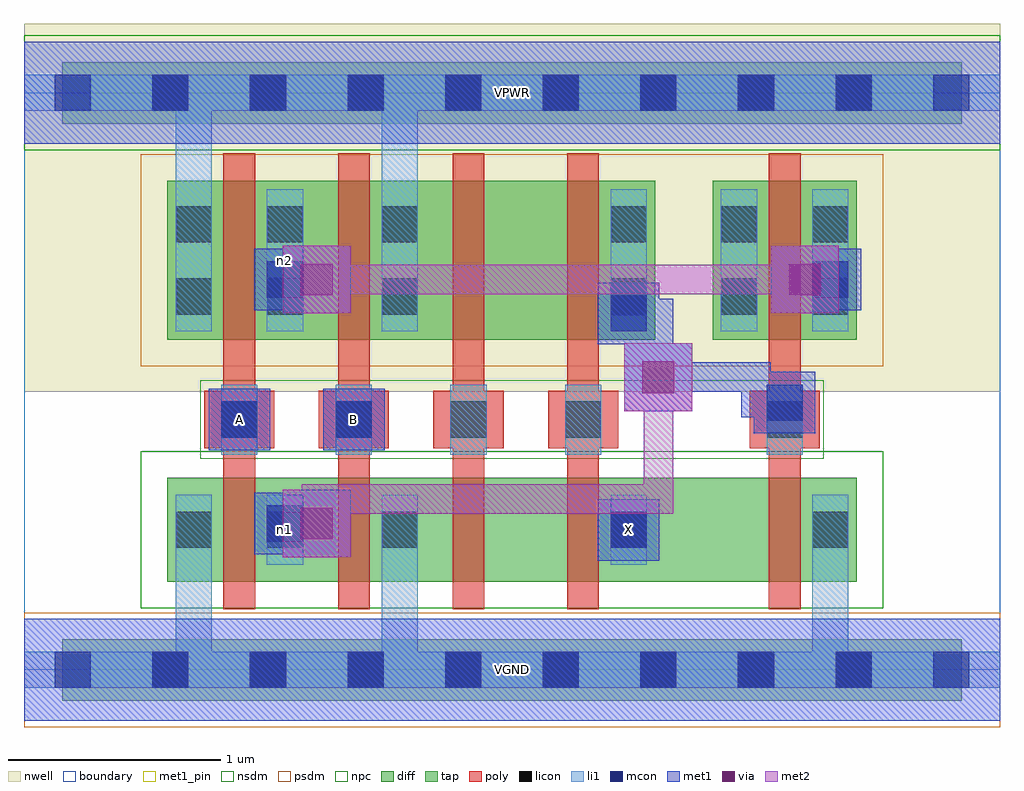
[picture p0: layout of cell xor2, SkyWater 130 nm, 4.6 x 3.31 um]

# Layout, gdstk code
import gdstk
lib = gdstk.Library(unit=1e-6, precision=1e-09)
def R(c, l, rs):  # rectangles x0, y0, x1, y1
    for r in rs: c.add(gdstk.rectangle(r[:2], r[2:], *l))
def A(c, l, x, y, w, h, nx, ny, dx, dy):  # array of equal rectangles
    R(c, l, [(x+i*dx, y+j*dy, x+i*dx+w, y+j*dy+h) for i in range(nx) for j in range(ny)])
nwell = (64, 20)
diff = (65, 20)
tap = (65, 44)
poly = (66, 20)
licon = (66, 44)
li1 = (67, 20)
mcon = (67, 44)
met1_pin = (68, 16)
met1 = (68, 20)
via = (68, 44)
met2 = (69, 20)
nsdm = (93, 44)
psdm = (94, 20)
npc = (95, 20)
boundary = (235, 4)

xor2 = lib.new_cell('xor2')
R(xor2, nwell, [(0,1.31,4.6,3.045)])
R(xor2, diff, [(0.675,0.415,3.925,0.905), (0.675,1.555,2.975,2.305), (3.245,1.555,3.925,2.305)])
R(xor2, tap, [(0.18,-0.145,4.42,0.145), (0.18,2.575,4.42,2.865)])
A(xor2, poly, 0.94, 0.285, 0.15, 2.15, 4, 1, 0.54, 0)
A(xor2, poly, 0.85, 1.045, 0.33, 0.27, 4, 1, 0.54, 0)
R(xor2, poly, [(3.51,0.285,3.66,2.435), (3.42,1.045,3.75,1.315)])
A(xor2, licon, 0.605, -0.085, 0.17, 0.17, 8, 2, 0.46, 2.72)
A(xor2, licon, 0.93, 1.095, 0.17, 0.17, 4, 1, 0.54, 0)
R(xor2, licon, [(0.715,0.575,0.885,0.745), (1.145,0.575,1.315,0.745), (1.685,0.575,1.855,0.745), (2.765,0.575,2.935,0.745), (3.715,0.575,3.885,0.745), (3.5,1.095,3.67,1.265), (0.715,1.675,0.885,1.845), (1.145,1.675,1.315,1.845), (1.685,1.675,1.855,1.845), (2.765,1.675,2.935,1.845), (3.285,1.675,3.455,1.845), (3.715,1.675,3.885,1.845), (0.715,2.015,0.885,2.185), (1.145,2.015,1.315,2.185), (1.685,2.015,1.855,2.185), (2.765,2.015,2.935,2.185), (3.285,2.015,3.455,2.185), (3.715,2.015,3.885,2.185)])
A(xor2, li1, 0.93, 1.015, 0.17, 0.33, 4, 1, 0.54, 0)
R(xor2, li1, [(0,-0.085,4.6,0.085), (0.715,-0.085,0.885,0.825), (1.685,-0.085,1.855,0.825), (3.715,-0.085,3.885,0.825), (0.715,0.495,0.885,0.825), (1.145,0.495,1.315,0.825), (1.685,0.495,1.855,0.825), (2.765,0.495,2.935,0.825), (3.715,0.495,3.885,0.825), (3.5,1.015,3.67,1.345), (0.715,1.595,0.885,2.265), (0.715,1.595,0.885,2.805), (1.145,1.595,1.315,2.265), (1.685,1.595,1.855,2.265), (1.685,1.595,1.855,2.805), (2.765,1.595,2.935,2.265), (3.285,1.595,3.455,2.265), (3.715,1.595,3.885,2.265), (0,2.635,4.6,2.805)])
A(xor2, mcon, 0.145, -0.085, 0.17, 0.17, 10, 2, 0.46, 2.72)
R(xor2, mcon, [(2.765,0.575,2.935,0.745), (1.145,0.605,1.315,0.775), (0.93,1.095,1.1,1.265), (1.47,1.095,1.64,1.265), (3.5,1.175,3.67,1.345), (2.765,1.595,2.935,1.765), (1.145,1.755,1.315,1.925), (3.715,1.755,3.885,1.925)])
R(xor2, met1_pin, [(0,-0.24,4.6,0.24), (2.705,0.515,2.995,0.805), (0.87,1.035,1.16,1.325), (1.41,1.035,1.7,1.325), (0,2.48,4.6,2.96)])
R(xor2, met1, [(0,-0.24,4.6,0.24), (2.705,0.515,2.995,0.805), (1.22,0.53,1.54,0.85), (1.085,0.545,1.375,0.835), (1.16,0.62,1.45,0.76), (0.87,1.035,1.16,1.325), (1.41,1.035,1.7,1.325), (3.44,1.115,3.73,1.405), (3.38,1.19,3.655,1.33), (3.38,1.19,3.52,1.45), (2.83,1.22,3.15,1.54), (2.92,1.31,3.52,1.45), (2.92,1.31,3.06,1.565), (2.92,1.425,3.06,1.75), (2.705,1.535,2.995,1.825), (2.83,1.54,3.06,1.61), (2.78,1.61,3.06,1.75), (1.22,1.68,1.54,2), (3.52,1.68,3.84,2), (1.085,1.695,1.375,1.985), (3.655,1.695,3.945,1.985), (1.16,1.77,1.45,1.91), (3.61,1.77,3.87,1.91), (0,2.48,4.6,2.96)])
R(xor2, via, [(1.305,0.615,1.455,0.765), (2.915,1.305,3.065,1.455), (1.305,1.765,1.455,1.915), (3.605,1.765,3.755,1.915)])
R(xor2, met2, [(1.22,0.53,1.54,0.85), (1.31,0.62,1.45,0.875), (1.31,0.735,3.06,0.875), (2.92,0.735,3.06,1.45), (2.83,1.22,3.15,1.54), (1.22,1.68,1.54,2), (3.52,1.68,3.84,2), (1.31,1.77,3.75,1.91)])
R(xor2, nsdm, [(0.55,0.29,4.05,1.03), (0,2.45,4.6,2.99)])
R(xor2, psdm, [(0,-0.27,4.6,0.27), (0.55,1.43,4.05,2.43)])
R(xor2, npc, [(0.83,0.995,3.77,1.365)])
R(xor2, boundary, [(0,0,4.6,2.72)])
xor2.add(gdstk.Label('n1', (1.23,0.66), layer=67, texttype=5))
xor2.add(gdstk.Label('n2', (1.23,1.93), layer=67, texttype=5))
xor2.add(gdstk.Label('A', (1.015,1.18), layer=68, texttype=5))
xor2.add(gdstk.Label('B', (1.555,1.18), layer=68, texttype=5))
xor2.add(gdstk.Label('X', (2.85,0.66), layer=68, texttype=5))
xor2.add(gdstk.Label('VPWR', (2.3,2.72), layer=68, texttype=5))
xor2.add(gdstk.Label('VGND', (2.3,0), layer=68, texttype=5))
xor2.add(gdstk.Label('A', (1.015,1.18), layer=68, texttype=16))
xor2.add(gdstk.Label('B', (1.555,1.18), layer=68, texttype=16))
xor2.add(gdstk.Label('X', (2.85,0.66), layer=68, texttype=16))
xor2.add(gdstk.Label('VPWR', (2.3,2.72), layer=68, texttype=16))
xor2.add(gdstk.Label('VGND', (2.3,0), layer=68, texttype=16))

lib.write_gds('xor2.gds')
